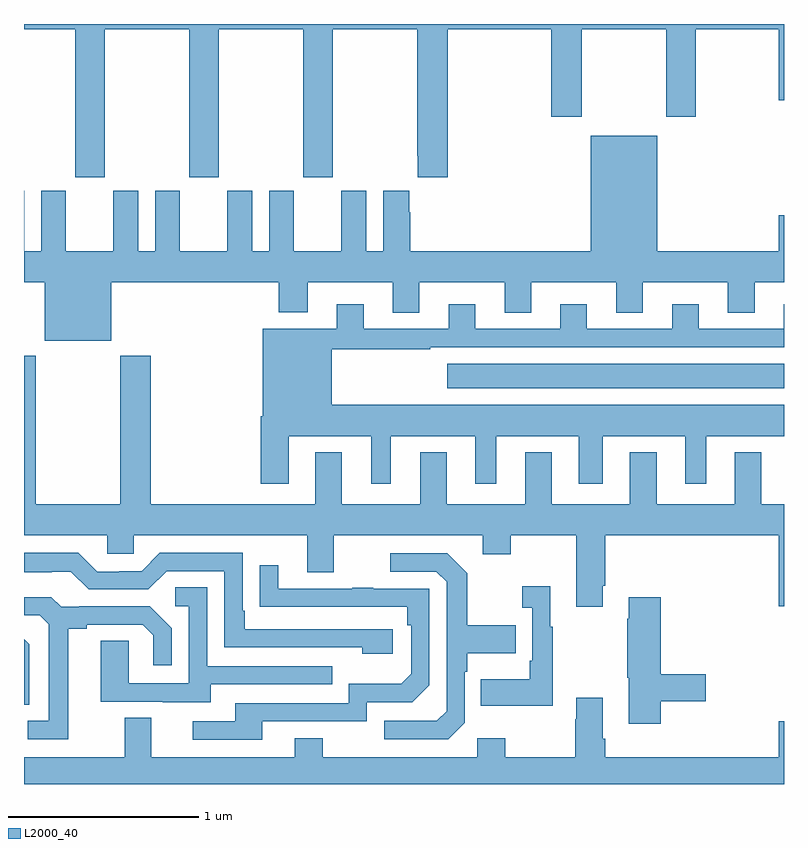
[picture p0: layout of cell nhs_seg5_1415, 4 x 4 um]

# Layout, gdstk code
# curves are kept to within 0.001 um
import gdstk
lib = gdstk.Library(unit=1e-6, precision=1e-09)
def R(c, l, rs):  # rectangles x0, y0, x1, y1
    for r in rs: c.add(gdstk.rectangle(r[:2], r[2:], *l))
def P(c, l, *ps):  # polygons
    for p in ps: c.add(gdstk.Polygon(p, *l))
L2000_40 = (2000, 40)

nhs_seg5_1415 = lib.new_cell('nhs_seg5_1415')
R(nhs_seg5_1415, L2000_40, [(199.227,842.882,201,843.01)])
P(nhs_seg5_1415, L2000_40, [(197.424,844.772),(197.869,844.772),(197.869,843.993),(198.024,843.993),(198.024,844.772),(198.469,844.772),(198.469,843.993),(198.624,843.993),(198.624,844.772),(199.069,844.772),(199.069,844.105),(199.073,844.105),(199.073,843.993),(199.229,843.993),(199.229,844.772),(199.775,844.772),(199.775,844.311),(199.935,844.311),(199.935,844.772),(200.38,844.772),(200.38,844.311),(200.535,844.311),(200.535,844.772),(200.972,844.772),(200.972,844.398),(201,844.398),(201,844.799),(197,844.799),(197,844.772),(197.269,844.772),(197.269,843.993),(197.424,843.993)],
  [(197.458,843.44),(198.341,843.44),(198.341,843.281),(198.493,843.281),(198.493,843.44),(198.941,843.44),(198.941,843.28),(199.081,843.28),(199.081,843.44),(199.529,843.44),(199.529,843.28),(199.669,843.28),(199.669,843.44),(200.117,843.44),(200.117,843.28),(200.257,843.28),(200.257,843.44),(200.705,843.44),(200.705,843.28),(200.845,843.28),(200.845,843.44),(201,843.44),(201,843.793),(200.972,843.793),(200.972,843.604),(200.332,843.604),(200.332,844.21),(199.982,844.21),(199.982,843.604),(199.034,843.604),(199.034,843.809),(199.027,843.809),(199.027,843.922),(198.89,843.922),(198.89,843.604),(198.802,843.604),(198.802,843.922),(198.671,843.922),(198.671,843.604),(198.421,843.604),(198.421,843.922),(198.29,843.922),(198.29,843.604),(198.202,843.604),(198.202,843.922),(198.071,843.922),(198.071,843.604),(197.821,843.604),(197.821,843.922),(197.69,843.922),(197.69,843.604),(197.602,843.604),(197.602,843.922),(197.471,843.922),(197.471,843.604),(197.221,843.604),(197.221,843.922),(197.09,843.922),(197.09,843.604),(197.002,843.604),(197.002,843.922),(197,843.922),(197,843.44),(197.108,843.44),(197.108,843.131),(197.458,843.131)],
  [(198.394,842.63),(198.827,842.63),(198.827,842.379),(198.931,842.379),(198.931,842.63),(199.376,842.63),(199.376,842.379),(199.486,842.379),(199.486,842.63),(199.919,842.63),(199.919,842.379),(200.047,842.379),(200.047,842.63),(200.48,842.63),(200.48,842.379),(200.59,842.379),(200.59,842.63),(201,842.63),(201,842.794),(198.619,842.794),(198.619,843.087),(199.139,843.087),(199.139,843.099),(201,843.099),(201,843.325),(200.999,843.325),(200.999,843.195),(200.551,843.195),(200.551,843.325),(200.411,843.325),(200.411,843.195),(199.963,843.195),(199.963,843.325),(199.823,843.325),(199.823,843.195),(199.375,843.195),(199.375,843.325),(199.235,843.325),(199.235,843.195),(198.787,843.195),(198.787,843.325),(198.647,843.325),(198.647,843.196),(198.257,843.196),(198.257,842.734),(198.245,842.734),(198.245,842.379),(198.394,842.379)],
  [(200.047,841.843),(200.06,841.843),(200.06,842.108),(200.972,842.108),(200.972,841.734),(201,841.734),(201,842.272),(200.881,842.272),(200.881,842.545),(200.741,842.545),(200.741,842.272),(200.329,842.272),(200.329,842.545),(200.189,842.545),(200.189,842.272),(199.777,842.272),(199.777,842.545),(199.637,842.545),(199.637,842.272),(199.225,842.272),(199.225,842.545),(199.085,842.545),(199.085,842.272),(198.673,842.272),(198.673,842.545),(198.533,842.545),(198.533,842.272),(197.666,842.272),(197.666,843.052),(197.506,843.052),(197.506,842.272),(197.061,842.272),(197.061,843.052),(197,843.052),(197,842.108),(197.439,842.108),(197.439,842.01),(197.577,842.01),(197.577,842.108),(198.491,842.108),(198.491,841.914),(198.631,841.914),(198.631,842.108),(199.415,842.108),(199.415,842.009),(199.563,842.009),(199.563,842.108),(199.907,842.108),(199.907,841.731),(200.047,841.731)],
  [(198.94,841.614),(198.163,841.614),(198.163,841.711),(198.15,841.711),(198.15,842.016),(197.715,842.016),(197.619,841.92),(197.501,841.92),(197.501,841.917),(197.385,841.917),(197.285,842.017),(197,842.017),(197,841.913),(197.147,841.913),(197.147,841.917),(197.247,841.917),(197.34,841.824),(197.655,841.824),(197.751,841.92),(198.054,841.92),(198.054,841.518),(198.779,841.518),(198.779,841.484),(198.94,841.484)],
  [(199.32,841.122),(199.32,841.391),(199.333,841.391),(199.333,841.487),(199.589,841.487),(199.589,841.635),(199.333,841.635),(199.333,841.907),(199.227,842.013),(198.927,842.013),(198.927,841.917),(199.17,841.917),(199.224,841.863),(199.224,841.182),(199.173,841.131),(198.897,841.131),(198.897,841.035),(199.233,841.035)],
  [(198.253,841.128),(198.804,841.128),(198.804,841.23),(199.044,841.23),(199.134,841.32),(199.134,841.827),(198.839,841.827),(198.839,841.832),(198.727,841.832),(198.727,841.827),(198.337,841.827),(198.337,841.951),(198.241,841.951),(198.241,841.732),(199.018,841.731),(199.018,841.634),(199.038,841.634),(199.038,841.38),(198.985,841.327),(198.708,841.327),(198.708,841.224),(198.113,841.224),(198.113,841.128),(197.889,841.128),(197.889,841.032),(198.253,841.032)],
  [(199.783,841.627),(199.771,841.627),(199.771,841.84),(199.623,841.84),(199.623,841.727),(199.674,841.727),(199.674,841.447),(199.662,841.447),(199.662,841.351),(199.405,841.351),(199.405,841.211),(199.783,841.211)],
  [(197.983,841.323),(198.623,841.323),(198.623,841.419),(197.964,841.419),(197.964,841.835),(197.796,841.835),(197.796,841.734),(197.868,841.734),(197.868,841.329),(197.55,841.329),(197.55,841.553),(197.405,841.553),(197.405,841.233),(197.729,841.233),(197.729,841.229),(197.983,841.229)],
  [(197.233,841.616),(197.329,841.616),(197.329,841.638),(197.624,841.638),(197.681,841.581),(197.681,841.425),(197.778,841.425),(197.778,841.618),(197.662,841.734),(197.29,841.734),(197.29,841.731),(197.196,841.731),(197.144,841.783),(197.001,841.783),(197.001,841.686),(197.082,841.686),(197.129,841.639),(197.129,841.131),(197.019,841.131),(197.019,841.035),(197.233,841.035)],
  [(200.351,841.234),(200.587,841.234),(200.587,841.376),(200.351,841.376),(200.351,841.783),(200.183,841.783),(200.183,841.67),(200.176,841.67),(200.176,841.359),(200.183,841.359),(200.183,841.116),(200.351,841.116)],
  [(197.028,841.534),(197,841.562),(197,841.216),(197.028,841.216)],
  [(201,841.129),(200.972,841.129),(200.972,840.94),(200.06,840.94),(200.06,841.036),(200.047,841.036),(200.047,841.252),(199.907,841.252),(199.907,841.139),(199.9,841.139),(199.9,840.94),(199.533,840.94),(199.533,841.039),(199.386,841.039),(199.386,840.94),(198.573,840.94),(198.573,841.039),(198.425,841.039),(198.425,840.94),(197.671,840.94),(197.671,841.148),(197.531,841.148),(197.531,840.94),(197,840.94),(197,840.799),(201,840.799)])

lib.write_gds('nhs_seg5_1415.gds')
